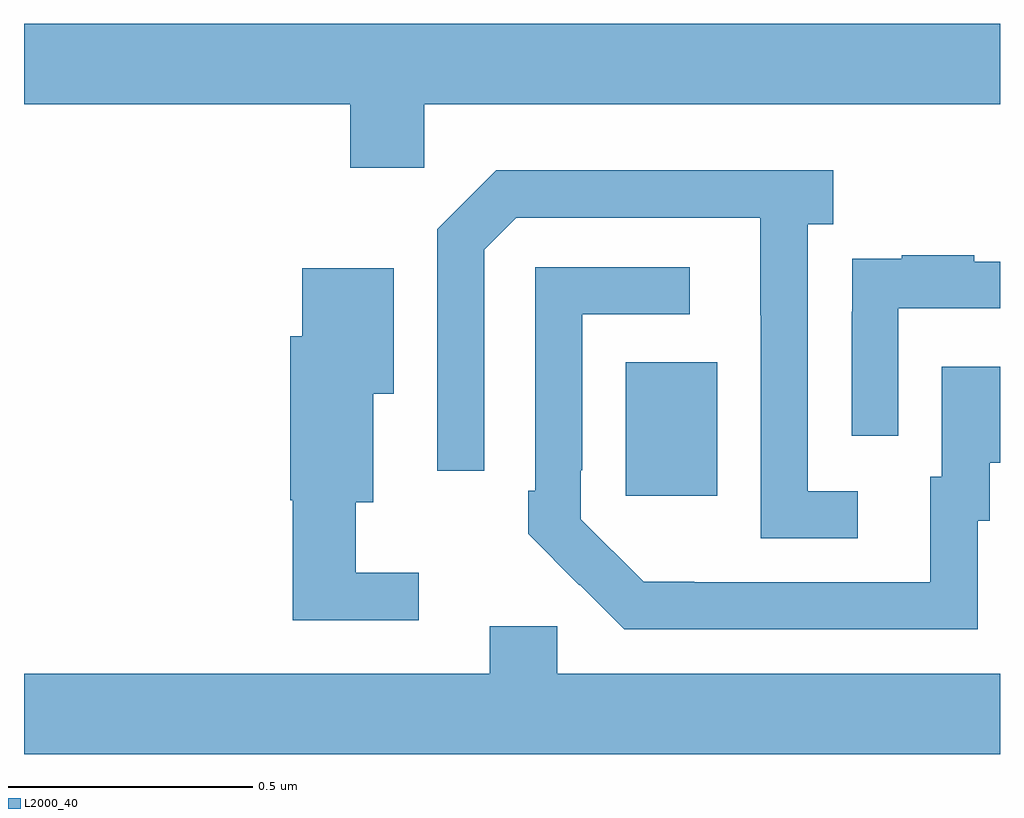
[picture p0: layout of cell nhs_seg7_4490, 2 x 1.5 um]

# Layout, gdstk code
import gdstk
lib = gdstk.Library(unit=1e-6, precision=1e-09)
def R(c, l, rs):  # rectangles x0, y0, x1, y1
    for r in rs: c.add(gdstk.rectangle(r[:2], r[2:], *l))
def P(c, l, *ps):  # polygons
    for p in ps: c.add(gdstk.Polygon(p, *l))
L2000_40 = (2000, 40)

nhs_seg7_4490 = lib.new_cell('nhs_seg7_4490')
R(nhs_seg7_4490, L2000_40, [(174.233,1043.769,174.421,1044.043)])
P(nhs_seg7_4490, L2000_40, [(173.82,1044.572),(175,1044.572),(175,1044.736),(173,1044.736),(173,1044.572),(173.669,1044.572),(173.669,1044.441),(173.82,1044.441)],
  [(174.709,1043.778),(174.606,1043.778),(174.606,1044.326),(174.658,1044.326),(174.658,1044.436),(173.968,1044.436),(173.847,1044.315),(173.847,1043.82),(173.943,1043.82),(173.943,1044.273),(174.009,1044.339),(174.509,1044.339),(174.509,1044.139),(174.51,1044.139),(174.51,1043.682),(174.709,1043.682)],
  [(174.792,1044.153),(175,1044.153),(175,1044.249),(174.947,1044.249),(174.947,1044.262),(174.799,1044.262),(174.799,1044.255),(174.697,1044.255),(174.697,1044.146),(174.696,1044.146),(174.696,1043.892),(174.792,1043.892)],
  [(174.954,1043.718),(174.979,1043.718),(174.979,1043.837),(175,1043.837),(175,1044.034),(174.881,1044.034),(174.881,1043.808),(174.857,1043.808),(174.857,1043.592),(174.373,1043.592),(174.373,1043.593),(174.27,1043.593),(174.141,1043.721),(174.141,1043.821),(174.144,1043.821),(174.144,1044.141),(174.364,1044.141),(174.364,1044.237),(174.048,1044.237),(174.048,1043.779),(174.033,1043.779),(174.033,1043.691),(174.138,1043.586),(174.139,1043.587),(174.23,1043.496),(174.954,1043.496)],
  [(173.809,1043.611),(173.68,1043.611),(173.68,1043.756),(173.716,1043.756),(173.716,1043.978),(173.758,1043.978),(173.758,1044.235),(173.57,1044.235),(173.57,1044.096),(173.546,1044.096),(173.546,1043.76),(173.551,1043.76),(173.551,1043.514),(173.809,1043.514)],
  [(175,1043.404),(174.093,1043.404),(174.093,1043.502),(173.954,1043.502),(173.954,1043.404),(173,1043.404),(173,1043.24),(175,1043.24)])

lib.write_gds('nhs_seg7_4490.gds')
